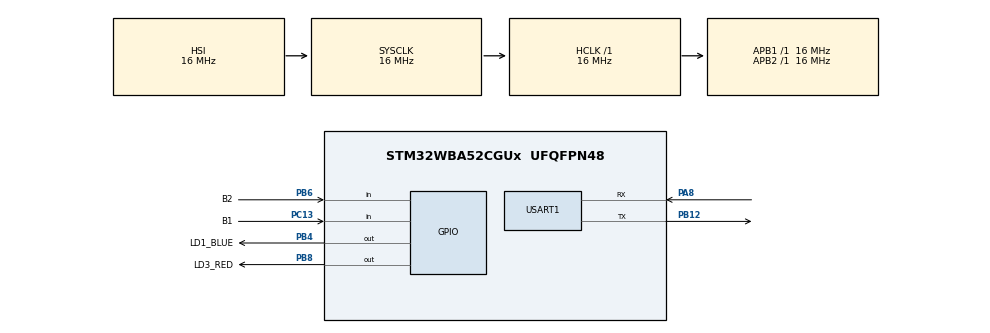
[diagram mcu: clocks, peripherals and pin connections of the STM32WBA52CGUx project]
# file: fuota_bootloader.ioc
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CORTEX_M33_NS.userName=CORTEX_M33
Mcu.Family=STM32WBA
Mcu.Name=STM32WBA52CGUx
Mcu.Package=UFQFPN48
NVIC.PriorityGroup=NVIC_PRIORITYGROUP_4
OSC_IN.Mode=HSE-External-Oscillator
OSC_IN.Signal=RCC_OSC_IN
OSC_OUT.Mode=HSE-External-Oscillator
OSC_OUT.Signal=RCC_OSC_OUT
PA13\ (JTMS/SWDIO).Mode=Serial_Wire
PA13\ (JTMS/SWDIO).Signal=DEBUG_JTMS-SWDIO
PA14\ (JTCK/SWCLK).Mode=Serial_Wire
PA14\ (JTCK/SWCLK).Signal=DEBUG_JTCK-SWCLK
PA8.Mode=Asynchronous
PA8.Signal=USART1_RX
PB12.Mode=Asynchronous
PB12.Signal=USART1_TX
PB4\ (NJTRST).GPIO_Label=LD1_BLUE
PB4\ (NJTRST).PinState=GPIO_PIN_SET
PB4\ (NJTRST).Signal=GPIO_Output
PB6.GPIO_Label=B2
PB6.GPIO_PuPd=GPIO_PULLUP
PB6.Signal=GPIO_Input
PB8.GPIO_Label=LD3_RED
PB8.PinState=GPIO_PIN_SET
PB8.Signal=GPIO_Output
PC13.GPIO_Label=B1
PC13.GPIO_PuPd=GPIO_PULLUP
PC13.Signal=GPIO_Input
PC14-OSC32_IN.Mode=LSE-External-Oscillator
PC14-OSC32_IN.Signal=RCC_OSC32_IN
PC15-OSC32_OUT.Mode=LSE-External-Oscillator
PC15-OSC32_OUT.Signal=RCC_OSC32_OUT
ProjectManager.HeapSize=0x200
ProjectManager.StackSize=0x400
ProjectManager.TargetToolchain=STM32CubeIDE
RCC.ADCFreq_Value=16000000
RCC.AHBFreq_Value=16000000
RCC.APB1Freq_Value=16000000
RCC.APB1TimFreq_Value=16000000
RCC.APB2Freq_Value=16000000
RCC.APB2TimFreq_Value=16000000
RCC.CortexFreq_Value=2000000
RCC.HCLKFreq_Value=16000000
RCC.HSE_VALUE=32000000
RCC.HSI_VALUE=16000000
RCC.PWR_Regulator_Voltage_Scale=PWR_REGULATOR_VOLTAGE_SCALE1
RCC.SYSCLKFreq_VALUE=16000000
RCC.VCOOutputFreq_Value=2064000000
USART1.VirtualMode-Asynchronous=VM_ASYNC
VP_FLASH_SIG_Activate_FlashIP.Mode=Activate_FlashIP
VP_MEMORYMAP_VS_MEMORYMAP.Mode=CurAppReg
VP_PWR_VS_SECSignals.Mode=Security/Privilege
board=NUCLEO-WBA52CG

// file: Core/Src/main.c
/* USER CODE BEGIN Header */
/**
  ******************************************************************************
  * @file           : main.c
  * @brief          : Main program body
  ******************************************************************************
  * @attention
  *
  * Copyright (c) 2024 STMicroelectronics.
  * All rights reserved.
  *
  * This software is licensed under terms that can be found in the LICENSE file
  * in the root directory of this software component.
  * If no LICENSE file comes with this software, it is provided AS-IS.
  *
  ******************************************************************************
  */
/* USER CODE END Header */
#include "main.h"

/* USER CODE BEGIN Includes */
#include "slot_info.h"
#include <stdio.h>

/* USER CODE END Includes */

/* USER CODE BEGIN PTD */
typedef void (*function_ptr)(void);

/* USER CODE END PTD */

UART_HandleTypeDef huart1;

/* USER CODE BEGIN PV */
SlotInfo slots[APP_SLOTS_N];
uint32_t addresses[APP_SLOTS_N] = {APP_SLOT0_ADDRESS, APP_SLOT1_ADDRESS};

/* USER CODE END PV */

void SystemClock_Config(void);
static void MX_GPIO_Init(void);
static void MX_USART1_UART_Init(void);
static void MX_FLASH_Init(void);
/* USER CODE BEGIN PFP */
static void bootstrap_application(uint8_t slot_index);
static void boot_override_check();
static void print_slotinfo_error(SlotInfo_Result result);
#ifdef DEBUG
static void print_SlotInfo(SlotInfo* slotInfo);
#endif
/* USER CODE END PFP */

int main(void)
{

  /* MCU Configuration--------------------------------------------------------*/

  /* Reset of all peripherals, Initializes the Flash interface and the Systick. */
  HAL_Init();

  /* Configure the system clock */
  SystemClock_Config();

  /* Initialize all configured peripherals */
  MX_GPIO_Init();
  MX_USART1_UART_Init();
  MX_FLASH_Init();
  /* USER CODE BEGIN 2 */
#ifdef DEBUG
  printf("\n\nBootloader started\n");
  printf("Hold button B1 to boot first slot or B2 for second slot\n");
  HAL_Delay(500);
#endif
  SlotInfo_Result result = SlotInfos_read(slots, sizeof(slots));
  if (result == SLOTINFO_OK)
  {
    boot_override_check();
    int index = SlotInfo_get_active();
    if (index >= 0)
    {
      if (slots[index].is_valid)
      {
        bootstrap_application(index);
      }
      else
      {
        printf("Application inside active slot is not valid!\n");
      }
    }
    else
    {
      print_slotinfo_error(-index);
    }
  }
  else
  {
    print_slotinfo_error(result);
  }

  HAL_GPIO_WritePin(LD3_RED_GPIO_Port, LD3_RED_Pin, GPIO_PIN_RESET);

  /* USER CODE END 2 */

  /* Infinite loop */
  /* USER CODE BEGIN WHILE */
  while (1)
  {
    boot_override_check();
    HAL_Delay(200);
    /* USER CODE END WHILE */

  }
}

void SystemClock_Config(void)
{
  RCC_OscInitTypeDef RCC_OscInitStruct = {0};
  RCC_ClkInitTypeDef RCC_ClkInitStruct = {0};

  /** Configure the main internal regulator output voltage
  */
  if (HAL_PWREx_ControlVoltageScaling(PWR_REGULATOR_VOLTAGE_SCALE1) != HAL_OK)
  {
    Error_Handler();
  }

  /** Initializes the CPU, AHB and APB busses clocks
  */
  RCC_OscInitStruct.OscillatorType = RCC_OSCILLATORTYPE_HSI;
  RCC_OscInitStruct.HSIState = RCC_HSI_ON;
  RCC_OscInitStruct.HSICalibrationValue = RCC_HSICALIBRATION_DEFAULT;
  RCC_OscInitStruct.PLL1.PLLState = RCC_PLL_NONE;
  if (HAL_RCC_OscConfig(&RCC_OscInitStruct) != HAL_OK)
  {
    Error_Handler();
  }

  /** Initializes the CPU, AHB and APB busses clocks
  */
  RCC_ClkInitStruct.ClockType = RCC_CLOCKTYPE_HCLK|RCC_CLOCKTYPE_SYSCLK
                              |RCC_CLOCKTYPE_PCLK1|RCC_CLOCKTYPE_PCLK2
                              |RCC_CLOCKTYPE_PCLK7|RCC_CLOCKTYPE_HCLK5;
  RCC_ClkInitStruct.SYSCLKSource = RCC_SYSCLKSOURCE_HSI;
  RCC_ClkInitStruct.AHBCLKDivider = RCC_SYSCLK_DIV1;
  RCC_ClkInitStruct.APB1CLKDivider = RCC_HCLK_DIV1;
  RCC_ClkInitStruct.APB2CLKDivider = RCC_HCLK_DIV1;
  RCC_ClkInitStruct.APB7CLKDivider = RCC_HCLK_DIV1;
  RCC_ClkInitStruct.AHB5_PLL1_CLKDivider = RCC_SYSCLK_PLL1_DIV1;
  RCC_ClkInitStruct.AHB5_HSEHSI_CLKDivider = RCC_SYSCLK_HSEHSI_DIV1;

  if (HAL_RCC_ClockConfig(&RCC_ClkInitStruct, FLASH_LATENCY_0) != HAL_OK)
  {
    Error_Handler();
  }
}

static void MX_FLASH_Init(void)
{

  if (HAL_FLASH_Unlock() != HAL_OK)
  {
    Error_Handler();
  }
  if (HAL_FLASH_Lock() != HAL_OK)
  {
    Error_Handler();
  }

}

static void MX_USART1_UART_Init(void)
{

  huart1.Instance = USART1;
  huart1.Init.BaudRate = 115200;
  huart1.Init.WordLength = UART_WORDLENGTH_8B;
  huart1.Init.StopBits = UART_STOPBITS_1;
  huart1.Init.Parity = UART_PARITY_NONE;
  huart1.Init.Mode = UART_MODE_TX_RX;
  huart1.Init.HwFlowCtl = UART_HWCONTROL_NONE;
  huart1.Init.OverSampling = UART_OVERSAMPLING_16;
  huart1.Init.OneBitSampling = UART_ONE_BIT_SAMPLE_DISABLE;
  huart1.Init.ClockPrescaler = UART_PRESCALER_DIV1;
  huart1.AdvancedInit.AdvFeatureInit = UART_ADVFEATURE_NO_INIT;
  if (HAL_UART_Init(&huart1) != HAL_OK)
  {
    Error_Handler();
  }
  if (HAL_UARTEx_SetTxFifoThreshold(&huart1, UART_TXFIFO_THRESHOLD_1_8) != HAL_OK)
  {
    Error_Handler();
  }
  if (HAL_UARTEx_SetRxFifoThreshold(&huart1, UART_RXFIFO_THRESHOLD_1_8) != HAL_OK)
  {
    Error_Handler();
  }
  if (HAL_UARTEx_DisableFifoMode(&huart1) != HAL_OK)
  {
    Error_Handler();
  }

}

static void MX_GPIO_Init(void)
{
  GPIO_InitTypeDef GPIO_InitStruct = {0};

  /* GPIO Ports Clock Enable */
  __HAL_RCC_GPIOB_CLK_ENABLE();
  __HAL_RCC_GPIOA_CLK_ENABLE();
  __HAL_RCC_GPIOC_CLK_ENABLE();

  /*Configure GPIO pin Output Level */
  HAL_GPIO_WritePin(GPIOB, LD3_RED_Pin|LD1_BLUE_Pin, GPIO_PIN_SET);

  /*Configure GPIO pins : LD3_RED_Pin LD1_BLUE_Pin */
  GPIO_InitStruct.Pin = LD3_RED_Pin|LD1_BLUE_Pin;
  GPIO_InitStruct.Mode = GPIO_MODE_OUTPUT_PP;
  GPIO_InitStruct.Pull = GPIO_NOPULL;
  GPIO_InitStruct.Speed = GPIO_SPEED_FREQ_LOW;
  HAL_GPIO_Init(GPIOB, &GPIO_InitStruct);

  /*Configure GPIO pin : B1_Pin */
  GPIO_InitStruct.Pin = B1_Pin;
  GPIO_InitStruct.Mode = GPIO_MODE_INPUT;
  GPIO_InitStruct.Pull = GPIO_PULLUP;
  HAL_GPIO_Init(B1_GPIO_Port, &GPIO_InitStruct);

  /*Configure GPIO pin : B2_Pin */
  GPIO_InitStruct.Pin = B2_Pin;
  GPIO_InitStruct.Mode = GPIO_MODE_INPUT;
  GPIO_InitStruct.Pull = GPIO_PULLUP;
  HAL_GPIO_Init(B2_GPIO_Port, &GPIO_InitStruct);

}

/* USER CODE BEGIN 4 */

static void bootstrap_application(uint8_t slot_index)
{
#ifdef DEBUG
  printf("Booting slot %c\n", slots[slot_index].id);
  print_SlotInfo(&slots[slot_index]);
#endif

  // TODO: future improvement, check app integrity/signature
  uint32_t start_address = addresses[slot_index];
  function_ptr app_reset_handler = (function_ptr)(*(volatile uint32_t*)(start_address + 4));

  HAL_UART_DeInit(&huart1);
  HAL_DeInit();
  SysTick->CTRL = 0;
  SysTick->LOAD = 0;
  SysTick->VAL = 0;

  // The first word in the vector table defines the starting value of Main Stack Pointer (MSP)
  // https://developer.arm.com/documentation/107565/0101/Use-case-examples/Generic-Information/What-is-inside-a-program-image-/Vector-table
  SCB->VTOR = start_address;
  __set_MSP(*(uint32_t*)start_address);

  app_reset_handler();

  /**
   * From AppInstallManager (Bootloader) example:
   * app_reset_handler() never returns.
   * However, if for any reason a PUSH instruction is added at the entry of  JumpFwApp(),
   * we need to make sure the POP instruction is not there before app_reset_handler() is called
   * The way to ensure this is to add a dummy code after app_reset_handler() is called
   * This prevents app_reset_handler() to be the last code in the function.
   */
  __WFI();
}

static void print_slotinfo_error(SlotInfo_Result result)
{
  switch(result)
  {
    case SLOTINFO_OK:
      break;
    case SLOTINFO_MAGIC_N_NOT_FOUND:
      printf("Magic number not found in FLASH! Cannot launch any application\n");
      break;
    case SLOTINFOS_COUNT_NOT_FOUND:
      printf("Slot count not found in FLASH!\n");
      break;
    case SLOTINFOS_COUNT_MISMATCH:
      printf("Slots array length mismatch with slots count found in FLASH!\n");
      break;
    case SLOTINFO_NONE_IS_ACTIVE:
      printf("Can't find any active slot to boot!\n");
      break;
    case SLOTINFOS_NOT_FOUND:
      printf("SlotInfo data not found! Cannot launch any application\n");
      break;
    default:
      printf("Error loading SlotInfo data! 0x%2X\n", result);
      break;
  }
}

static void boot_override_check()
{
  int i = -1;
  if(HAL_GPIO_ReadPin(B1_GPIO_Port, B1_Pin) == GPIO_PIN_RESET)
  {
    i = 0;
  }
  if(HAL_GPIO_ReadPin(B2_GPIO_Port, B2_Pin) == GPIO_PIN_RESET)
  {
    i = 1;
  }
  if (i != -1)
  {
    SlotInfo_Result result = SlotInfos_read(slots, sizeof(slots));
    printf("Boot override to slot %c!\n", result == SLOTINFO_OK ? slots[i].id : '0' + i);
    HAL_GPIO_WritePin(LD1_BLUE_GPIO_Port, LD1_BLUE_Pin, GPIO_PIN_RESET);
    HAL_Delay(1000);
    bootstrap_application(i);
  }
}
#ifdef DEBUG
static void print_SlotInfo(SlotInfo* slotInfo)
{
  /*
    typedef struct
    {
      uint32_t version_code;
      char version_string[18];
      char id;
      uint8_t is_valid;
    } SlotInfo;
  */

  SlotInfos_read(slots, sizeof(slots));
  printf("slotInfo =\n");
  printf("{\n");
  printf("  version_code   = %lu\n", slotInfo->version_code);
  printf("  version_string = %s\n", slotInfo->version_string);
  printf("  id             = %c\n", slotInfo->id);
  printf("  is_valid       = %u\n", slotInfo->is_valid);
  printf("}\n\n");
}
#endif

/**
 * @brief Redirect print to UART
 * @retval int
 */
#ifdef __GNUC__
int __io_putchar(int ch)
#else
int fputc(int ch, FILE *f)
#endif /* __GNUC__ */
{
        HAL_UART_Transmit(&huart1, (uint8_t*)&ch, 1, HAL_MAX_DELAY);
        return ch;
}

/* USER CODE END 4 */

void Error_Handler(void)
{
  __disable_irq();
  while (1)
  {
  }
}
